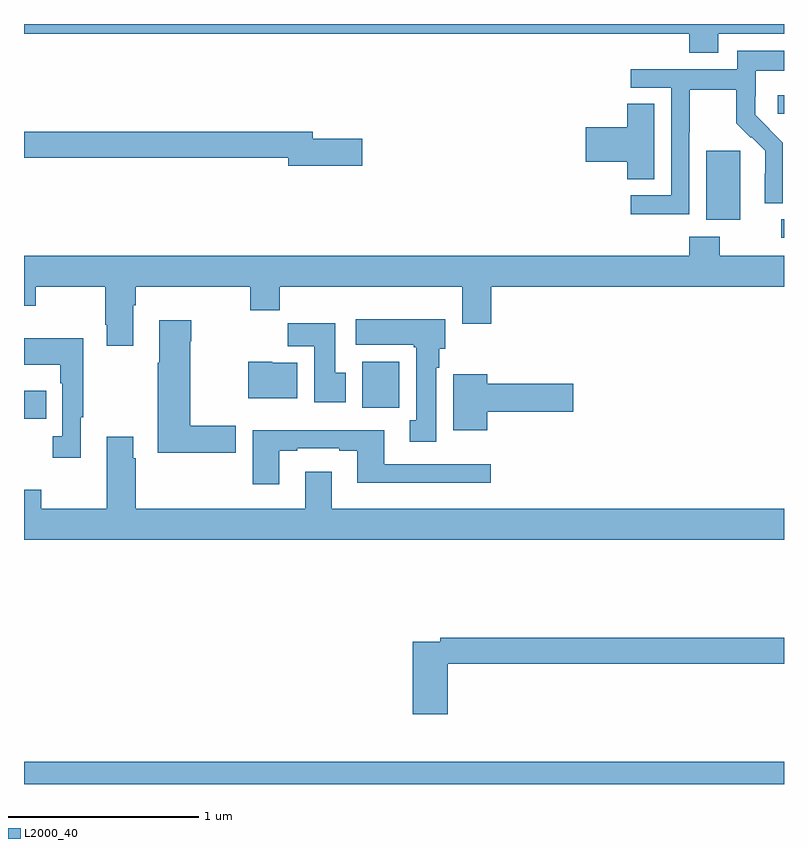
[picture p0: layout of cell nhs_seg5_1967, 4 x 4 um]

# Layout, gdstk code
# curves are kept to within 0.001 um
import gdstk
lib = gdstk.Library(unit=1e-6, precision=1e-09)
def R(c, l, rs):  # rectangles x0, y0, x1, y1
    for r in rs: c.add(gdstk.rectangle(r[:2], r[2:], *l))
def P(c, l, *ps):  # polygons
    for p in ps: c.add(gdstk.Polygon(p, *l))
L2000_40 = (2000, 40)

nhs_seg5_1967 = lib.new_cell('nhs_seg5_1967')
R(nhs_seg5_1967, L2000_40, [(227,864.799,231,864.916), (227,866.722,227.117,866.869), (228.779,866.78,228.976,867.022), (230.985,867.675,231,867.771), (230.591,867.77,230.77,868.131), (230.967,868.326,231,868.423)])
P(nhs_seg5_1967, L2000_40, [(230.653,868.748),(231,868.748),(231,868.799),(227,868.799),(227,868.748),(230.501,868.748),(230.501,868.649),(230.653,868.649)],
  [(230.502,868.228),(230.505,868.228),(230.505,868.452),(230.749,868.452),(230.749,868.277),(230.826,868.2),(230.829,868.203),(230.9,868.133),(230.9,868.01),(230.898,868.01),(230.898,867.856),(230.994,867.856),(230.994,868.174),(230.848,868.322),(230.848,868.419),(230.85,868.419),(230.85,868.553),(231,868.553),(231,868.657),(230.754,868.657),(230.754,868.56),(230.193,868.56),(230.193,868.464),(230.406,868.464),(230.406,867.897),(230.193,867.897),(230.193,867.799),(230.502,867.799)],
  [(230.317,868.379),(230.174,868.379),(230.174,868.256),(229.956,868.256),(229.956,868.073),(230.174,868.073),(230.174,867.982),(230.317,867.982)],
  [(228.781,868.196),(228.52,868.196),(228.52,868.232),(227,868.232),(227,868.096),(228.392,868.096),(228.392,868.054),(228.781,868.054)],
  [(227.575,867.32),(227.588,867.32),(227.588,867.416),(228.191,867.416),(228.191,867.292),(228.347,867.292),(228.347,867.416),(229.307,867.416),(229.307,867.222),(229.46,867.222),(229.46,867.416),(231,867.416),(231,867.58),(230.661,867.58),(230.661,867.679),(230.501,867.679),(230.501,867.58),(227,867.58),(227,867.317),(227.061,867.317),(227.061,867.416),(227.428,867.416),(227.428,867.217),(227.435,867.217),(227.435,867.105),(227.575,867.105)],
  [(229.171,866.99),(229.186,866.99),(229.186,867.09),(229.216,867.09),(229.216,867.244),(228.747,867.244),(228.747,867.11),(229.051,867.11),(229.051,867.097),(229.064,867.097),(229.064,866.714),(229.031,866.714),(229.031,866.601),(229.171,866.601)],
  [(228.115,866.684),(227.874,866.684),(227.874,867.128),(227.879,867.128),(227.879,867.241),(227.711,867.241),(227.711,867.017),(227.704,867.017),(227.704,866.542),(228.115,866.542)],
  [(228.694,866.964),(228.637,866.964),(228.637,867.223),(228.388,867.223),(228.388,867.104),(228.527,867.104),(228.527,866.808),(228.694,866.808)],
  [(227.299,866.729),(227.311,866.729),(227.311,867.145),(227,867.145),(227,867.005),(227.19,867.005),(227.19,866.909),(227.202,866.909),(227.202,866.63),(227.151,866.63),(227.151,866.517),(227.299,866.517)],
  [(228.439,867.016),(228.306,867.016),(228.306,867.022),(228.181,867.022),(228.181,866.828),(228.439,866.828)],
  [(229.438,866.759),(229.891,866.759),(229.891,866.906),(229.438,866.906),(229.438,866.956),(229.259,866.956),(229.259,866.66),(229.438,866.66)],
  [(228.343,866.553),(228.439,866.553),(228.439,866.565),(228.659,866.565),(228.659,866.553),(228.755,866.553),(228.755,866.384),(229.456,866.384),(229.456,866.481),(228.895,866.481),(228.895,866.662),(228.203,866.662),(228.203,866.376),(228.343,866.376)],
  [(231,866.248),(228.619,866.248),(228.619,866.443),(228.479,866.443),(228.479,866.248),(227.588,866.248),(227.588,866.513),(227.575,866.513),(227.575,866.626),(227.435,866.626),(227.435,866.248),(227.091,866.248),(227.091,866.347),(227,866.347),(227,866.084),(231,866.084)],
  [(229.229,865.432),(231,865.432),(231,865.568),(229.192,865.568),(229.192,865.548),(229.046,865.548),(229.046,865.167),(229.229,865.167)])

lib.write_gds('nhs_seg5_1967.gds')
